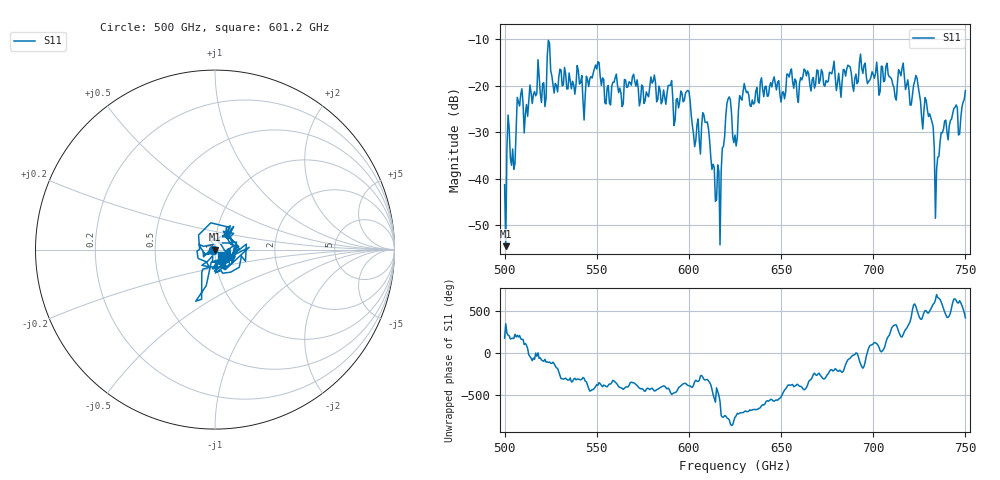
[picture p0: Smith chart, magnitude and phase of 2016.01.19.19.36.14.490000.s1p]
!Created with skrf (http://scikit-rf.org).
# GHz S RI R 50.0
!freq ReS11 ImS11
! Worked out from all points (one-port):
!   401 points, 500 GHz to 750 GHz, reference 50 ohm
!   lowest |S11| = -54.4 dB at 500.6 GHz (marker M1), VSWR 1.00, Z = 50.2 - j0.0366 ohm
!   |S11| at or under -10 dB: start of sweep to end of sweep
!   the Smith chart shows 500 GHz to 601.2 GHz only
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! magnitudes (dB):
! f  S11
! 500 GHz  -41.2
! 500.6 GHz  -54.4
! 502.5 GHz  -29.2
! 505 GHz  -37.9
! 508.1 GHz  -24.3
! 521.2 GHz  -19.3
! 524.4 GHz  -10.9
! 527.5 GHz  -19.5
! 531.2 GHz  -20.0
! 543.8 GHz  -22.0
! 550 GHz  -16.4
! 562.5 GHz  -20.5
! 580.6 GHz  -19.0
! 593.8 GHz  -22.7
! 599.4 GHz  -21.0
! 603.1 GHz  -33.1
! 608.8 GHz  -27.8
! 615.6 GHz  -37.0
! 621.2 GHz  -22.8
! 625 GHz  -30.6
! 630.6 GHz  -20.7
! 656.2 GHz  -19.1
! 687.5 GHz  -16.0
! 718.8 GHz  -18.7
! 729.4 GHz  -25.2
! 734.4 GHz  -38.0
! 738.1 GHz  -29.3
! 750 GHz  -21.0
